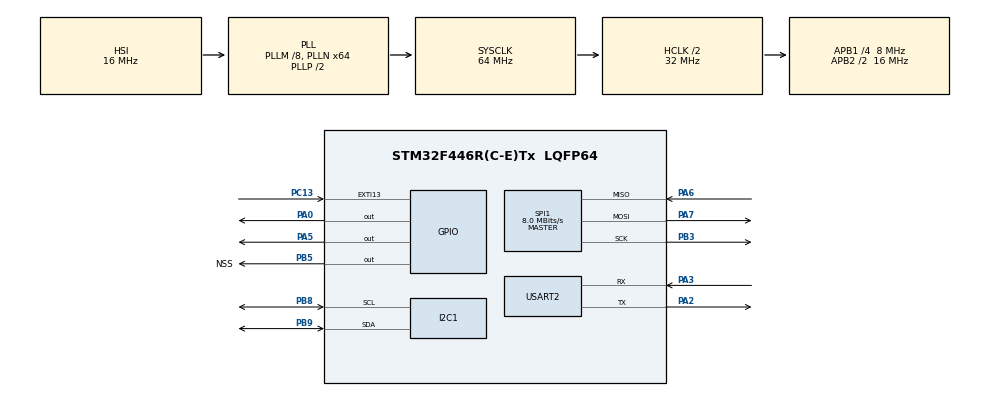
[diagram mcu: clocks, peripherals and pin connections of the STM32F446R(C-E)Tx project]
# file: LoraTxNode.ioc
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Mcu.Family=STM32F4
Mcu.Name=STM32F446R(C-E)Tx
Mcu.Package=LQFP64
NVIC.EXTI15_10_IRQn=true\:0\:0\:false\:false\:true\:true
NVIC.PriorityGroup=NVIC_PRIORITYGROUP_4
PA0-WKUP.PinState=GPIO_PIN_RESET
PA0-WKUP.Signal=GPIO_Output
PA2.Mode=Asynchronous
PA2.Signal=USART2_TX
PA3.Mode=Asynchronous
PA3.Signal=USART2_RX
PA5.GPIO_Speed=GPIO_SPEED_FREQ_MEDIUM
PA5.Signal=GPIO_Output
PA6.Mode=Full_Duplex_Master
PA6.Signal=SPI1_MISO
PA7.Mode=Full_Duplex_Master
PA7.Signal=SPI1_MOSI
PB3.Mode=Full_Duplex_Master
PB3.Signal=SPI1_SCK
PB5.GPIO_Label=NSS
PB5.GPIO_Speed=GPIO_SPEED_FREQ_VERY_HIGH
PB5.Signal=GPIO_Output
PB8.Mode=I2C
PB8.Signal=I2C1_SCL
PB9.Mode=I2C
PB9.Signal=I2C1_SDA
PC13.GPIO_ModeDefaultEXTI=GPIO_MODE_IT_FALLING
PC13.Signal=GPXTI13
PH0-OSC_IN.Mode=HSE-External-Oscillator
PH0-OSC_IN.Signal=RCC_OSC_IN
PH1-OSC_OUT.Mode=HSE-External-Oscillator
PH1-OSC_OUT.Signal=RCC_OSC_OUT
ProjectManager.HeapSize=0x200
ProjectManager.StackSize=0x400
ProjectManager.TargetToolchain=SW4STM32
RCC.AHBCLKDivider=RCC_SYSCLK_DIV2
RCC.AHBFreq_Value=32000000
RCC.APB1CLKDivider=RCC_HCLK_DIV4
RCC.APB1Freq_Value=8000000
RCC.APB1TimFreq_Value=16000000
RCC.APB2CLKDivider=RCC_HCLK_DIV2
RCC.APB2Freq_Value=16000000
RCC.APB2TimFreq_Value=32000000
RCC.CortexFreq_Value=32000000
RCC.HCLKFreq_Value=32000000
RCC.HSE_VALUE=8000000
RCC.PLLM=8
RCC.PLLN=64
RCC.SYSCLKFreq_VALUE=64000000
RCC.SYSCLKSource=RCC_SYSCLKSOURCE_PLLCLK
RCC.USBFreq_Value=64000000
RCC.VCOOutputFreq_Value=128000000
SPI1.BaudRatePrescaler=SPI_BAUDRATEPRESCALER_2
SPI1.CalculateBaudRate=8.0 MBits/s
SPI1.Direction=SPI_DIRECTION_2LINES
SPI1.Mode=SPI_MODE_MASTER
SPI1.VirtualType=VM_MASTER
USART2.VirtualMode=VM_ASYNC
board=custom

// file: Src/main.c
/**
  ******************************************************************************
  * @file           : main.c
  * @brief          : Main program body
  ******************************************************************************
  ** This notice applies to any and all portions of this file
  * that are not between comment pairs USER CODE BEGIN and
  * USER CODE END. Other portions of this file, whether
  * inserted by the user or by software development tools
  * are owned by their respective copyright owners.
  *
  * COPYRIGHT(c) 2019 STMicroelectronics
  *
  * Redistribution and use in source and binary forms, with or without modification,
  * are permitted provided that the following conditions are met:
  *   1. Redistributions of source code must retain the above copyright notice,
  *      this list of conditions and the following disclaimer.
  *   2. Redistributions in binary form must reproduce the above copyright notice,
  *      this list of conditions and the following disclaimer in the documentation
  *      and/or other materials provided with the distribution.
  *   3. Neither the name of STMicroelectronics nor the names of its contributors
  *      may be used to endorse or promote products derived from this software
  *      without specific prior written permission.
  *
  * THIS SOFTWARE IS PROVIDED BY THE COPYRIGHT HOLDERS AND CONTRIBUTORS "AS IS"
  * AND ANY EXPRESS OR IMPLIED WARRANTIES, INCLUDING, BUT NOT LIMITED TO, THE
  * IMPLIED WARRANTIES OF MERCHANTABILITY AND FITNESS FOR A PARTICULAR PURPOSE ARE
  * DISCLAIMED. IN NO EVENT SHALL THE COPYRIGHT HOLDER OR CONTRIBUTORS BE LIABLE
  * FOR ANY DIRECT, INDIRECT, INCIDENTAL, SPECIAL, EXEMPLARY, OR CONSEQUENTIAL
  * DAMAGES (INCLUDING, BUT NOT LIMITED TO, PROCUREMENT OF SUBSTITUTE GOODS OR
  * SERVICES; LOSS OF USE, DATA, OR PROFITS; OR BUSINESS INTERRUPTION) HOWEVER
  * CAUSED AND ON ANY THEORY OF LIABILITY, WHETHER IN CONTRACT, STRICT LIABILITY,
  * OR TORT (INCLUDING NEGLIGENCE OR OTHERWISE) ARISING IN ANY WAY OUT OF THE USE
  * OF THIS SOFTWARE, EVEN IF ADVISED OF THE POSSIBILITY OF SUCH DAMAGE.
  *
  ******************************************************************************
  */
#include "main.h"
#include "stm32f4xx_hal.h"

/* USER CODE BEGIN Includes */
#include "sx1272.h"

/* USER CODE END Includes */

I2C_HandleTypeDef hi2c1;

SPI_HandleTypeDef hspi1;

UART_HandleTypeDef huart2;

/* USER CODE BEGIN PV */
/* Private variables ---------------------------------------------------------*/

SX1272 node;
Config_Group config;
uint32_t freq = 0, g32 = 0x41466666;
uint16_t modem = 0, crc = 0;
uint8_t op = 0, ocp = 0, flags = 0;
uint8_t cmd1 = REG_LR_OP_MODE | READ;
uint8_t t1 = 0, t2 = 0;
uint8_t ts[2], data[PAYLOAD_LENGTH];
float temp = 0.0, temp1 = 0.0, temp2 = 0.0;
float test = 0.0;

/* USER CODE END PV */

void SystemClock_Config(void);
static void MX_GPIO_Init(void);
static void MX_SPI1_Init(void);
static void MX_I2C1_Init(void);
static void MX_USART2_UART_Init(void);

/* USER CODE BEGIN PFP */
/* Private function prototypes -----------------------------------------------*/
void log_temp();
void HAL_GPIO_EXTI_Callback(uint16_t GPIO_Pin);
/* USER CODE END PFP */

int main(void)
{

  /* MCU Configuration----------------------------------------------------------*/

  /* Reset of all peripherals, Initializes the Flash interface and the Systick. */
  HAL_Init();

  /* Configure the system clock */
  SystemClock_Config();

  /* Initialize all configured peripherals */
  MX_GPIO_Init();
  MX_SPI1_Init();
  MX_I2C1_Init();
  MX_USART2_UART_Init();
  /* USER CODE BEGIN 2 */

  node.hspi = &hspi1;
  node.config = &config;

  sx1272_lora_init(&node);

  /* Dummy data */
  data[0] = 0x55;
  data[1] = 0x17;
  data[2] = 0x22;
  data[3] = 0x10;
  data[4] = 0x34;
  data[5] = 0x89;
  data[6] = 0xA3;
  data[7] = 0x5F;
  for (int i = 8; i < 32; i++) {
      data[i] = 0;
  }

  crc = radio_packet_crc_compute(data, 32, CRC_TYPE_IBM);
  /* USER CODE END 2 */

  /* Infinite loop */
  /* USER CODE BEGIN WHILE */
  while (1)
  {
      log_temp();
	  flags = sx1272_send(0x5, data, PAYLOAD_LENGTH + HEADER_LENGTH, 1, 100);
	  HAL_Delay(2000);
  /* USER CODE END WHILE */

  }

}

void SystemClock_Config(void)
{

  RCC_OscInitTypeDef RCC_OscInitStruct;
  RCC_ClkInitTypeDef RCC_ClkInitStruct;

    /**Configure the main internal regulator output voltage
    */
  __HAL_RCC_PWR_CLK_ENABLE();

  __HAL_PWR_VOLTAGESCALING_CONFIG(PWR_REGULATOR_VOLTAGE_SCALE3);

    /**Initializes the CPU, AHB and APB busses clocks
    */
  RCC_OscInitStruct.OscillatorType = RCC_OSCILLATORTYPE_HSI;
  RCC_OscInitStruct.HSIState = RCC_HSI_ON;
  RCC_OscInitStruct.HSICalibrationValue = 16;
  RCC_OscInitStruct.PLL.PLLState = RCC_PLL_ON;
  RCC_OscInitStruct.PLL.PLLSource = RCC_PLLSOURCE_HSI;
  RCC_OscInitStruct.PLL.PLLM = 8;
  RCC_OscInitStruct.PLL.PLLN = 64;
  RCC_OscInitStruct.PLL.PLLP = RCC_PLLP_DIV2;
  RCC_OscInitStruct.PLL.PLLQ = 2;
  RCC_OscInitStruct.PLL.PLLR = 2;
  if (HAL_RCC_OscConfig(&RCC_OscInitStruct) != HAL_OK)
  {
    _Error_Handler(__FILE__, __LINE__);
  }

    /**Initializes the CPU, AHB and APB busses clocks
    */
  RCC_ClkInitStruct.ClockType = RCC_CLOCKTYPE_HCLK|RCC_CLOCKTYPE_SYSCLK
                              |RCC_CLOCKTYPE_PCLK1|RCC_CLOCKTYPE_PCLK2;
  RCC_ClkInitStruct.SYSCLKSource = RCC_SYSCLKSOURCE_PLLCLK;
  RCC_ClkInitStruct.AHBCLKDivider = RCC_SYSCLK_DIV2;
  RCC_ClkInitStruct.APB1CLKDivider = RCC_HCLK_DIV4;
  RCC_ClkInitStruct.APB2CLKDivider = RCC_HCLK_DIV2;

  if (HAL_RCC_ClockConfig(&RCC_ClkInitStruct, FLASH_LATENCY_1) != HAL_OK)
  {
    _Error_Handler(__FILE__, __LINE__);
  }

    /**Configure the Systick interrupt time
    */
  HAL_SYSTICK_Config(HAL_RCC_GetHCLKFreq()/1000);

    /**Configure the Systick
    */
  HAL_SYSTICK_CLKSourceConfig(SYSTICK_CLKSOURCE_HCLK);

  /* SysTick_IRQn interrupt configuration */
  HAL_NVIC_SetPriority(SysTick_IRQn, 0, 0);
}

/* I2C1 init function */
static void MX_I2C1_Init(void)
{

  hi2c1.Instance = I2C1;
  hi2c1.Init.ClockSpeed = 100000;
  hi2c1.Init.DutyCycle = I2C_DUTYCYCLE_2;
  hi2c1.Init.OwnAddress1 = 0;
  hi2c1.Init.AddressingMode = I2C_ADDRESSINGMODE_7BIT;
  hi2c1.Init.DualAddressMode = I2C_DUALADDRESS_DISABLE;
  hi2c1.Init.OwnAddress2 = 0;
  hi2c1.Init.GeneralCallMode = I2C_GENERALCALL_DISABLE;
  hi2c1.Init.NoStretchMode = I2C_NOSTRETCH_DISABLE;
  if (HAL_I2C_Init(&hi2c1) != HAL_OK)
  {
    _Error_Handler(__FILE__, __LINE__);
  }

}

/* SPI1 init function */
static void MX_SPI1_Init(void)
{

  /* SPI1 parameter configuration*/
  hspi1.Instance = SPI1;
  hspi1.Init.Mode = SPI_MODE_MASTER;
  hspi1.Init.Direction = SPI_DIRECTION_2LINES;
  hspi1.Init.DataSize = SPI_DATASIZE_8BIT;
  hspi1.Init.CLKPolarity = SPI_POLARITY_LOW;
  hspi1.Init.CLKPhase = SPI_PHASE_1EDGE;
  hspi1.Init.NSS = SPI_NSS_SOFT;
  hspi1.Init.BaudRatePrescaler = SPI_BAUDRATEPRESCALER_2;
  hspi1.Init.FirstBit = SPI_FIRSTBIT_MSB;
  hspi1.Init.TIMode = SPI_TIMODE_DISABLE;
  hspi1.Init.CRCCalculation = SPI_CRCCALCULATION_DISABLE;
  hspi1.Init.CRCPolynomial = 10;
  if (HAL_SPI_Init(&hspi1) != HAL_OK)
  {
    _Error_Handler(__FILE__, __LINE__);
  }

}

/* USART2 init function */
static void MX_USART2_UART_Init(void)
{

  huart2.Instance = USART2;
  huart2.Init.BaudRate = 115200;
  huart2.Init.WordLength = UART_WORDLENGTH_8B;
  huart2.Init.StopBits = UART_STOPBITS_1;
  huart2.Init.Parity = UART_PARITY_NONE;
  huart2.Init.Mode = UART_MODE_TX_RX;
  huart2.Init.HwFlowCtl = UART_HWCONTROL_NONE;
  huart2.Init.OverSampling = UART_OVERSAMPLING_16;
  if (HAL_UART_Init(&huart2) != HAL_OK)
  {
    _Error_Handler(__FILE__, __LINE__);
  }

}

/** Configure pins as
        * Analog
        * Input
        * Output
        * EVENT_OUT
        * EXTI
*/
static void MX_GPIO_Init(void)
{

  GPIO_InitTypeDef GPIO_InitStruct;

  /* GPIO Ports Clock Enable */
  __HAL_RCC_GPIOC_CLK_ENABLE();
  __HAL_RCC_GPIOH_CLK_ENABLE();
  __HAL_RCC_GPIOA_CLK_ENABLE();
  __HAL_RCC_GPIOB_CLK_ENABLE();

  /*Configure GPIO pin Output Level */
  HAL_GPIO_WritePin(GPIOA, GPIO_PIN_0|GPIO_PIN_5, GPIO_PIN_RESET);

  /*Configure GPIO pin Output Level */
  HAL_GPIO_WritePin(NSS_GPIO_Port, NSS_Pin, GPIO_PIN_RESET);

  /*Configure GPIO pin : PC13 */
  GPIO_InitStruct.Pin = GPIO_PIN_13;
  GPIO_InitStruct.Mode = GPIO_MODE_IT_FALLING;
  GPIO_InitStruct.Pull = GPIO_NOPULL;
  HAL_GPIO_Init(GPIOC, &GPIO_InitStruct);

  /*Configure GPIO pin : PA0 */
  GPIO_InitStruct.Pin = GPIO_PIN_0;
  GPIO_InitStruct.Mode = GPIO_MODE_OUTPUT_PP;
  GPIO_InitStruct.Pull = GPIO_NOPULL;
  GPIO_InitStruct.Speed = GPIO_SPEED_FREQ_LOW;
  HAL_GPIO_Init(GPIOA, &GPIO_InitStruct);

  /*Configure GPIO pin : PA5 */
  GPIO_InitStruct.Pin = GPIO_PIN_5;
  GPIO_InitStruct.Mode = GPIO_MODE_OUTPUT_PP;
  GPIO_InitStruct.Pull = GPIO_NOPULL;
  GPIO_InitStruct.Speed = GPIO_SPEED_FREQ_MEDIUM;
  HAL_GPIO_Init(GPIOA, &GPIO_InitStruct);

  /*Configure GPIO pin : NSS_Pin */
  GPIO_InitStruct.Pin = NSS_Pin;
  GPIO_InitStruct.Mode = GPIO_MODE_OUTPUT_PP;
  GPIO_InitStruct.Pull = GPIO_NOPULL;
  GPIO_InitStruct.Speed = GPIO_SPEED_FREQ_VERY_HIGH;
  HAL_GPIO_Init(NSS_GPIO_Port, &GPIO_InitStruct);

  /* EXTI interrupt init*/
  HAL_NVIC_SetPriority(EXTI15_10_IRQn, 0, 0);
  HAL_NVIC_EnableIRQ(EXTI15_10_IRQn);

}

/* USER CODE BEGIN 4 */
void HAL_GPIO_EXTI_Callback(uint16_t GPIO_Pin) {
	if (GPIO_Pin == GPIO_PIN_13) {
		HAL_GPIO_TogglePin(GPIOA, GPIO_PIN_5);
	} else {
		;
	}
}

void log_temp() {
	HAL_I2C_Mem_Read(&hi2c1, 0x52 << 1, 0x7, 1, ts, 2, 100);
	data[8] = ts[0];
	data[9] = ts[1];

	HAL_UART_Transmit(&huart2, ts, 2, 100);

	HAL_I2C_Mem_Read(&hi2c1, 0x51 << 1, 0x7, 1, ts, 2, 100);
	data[10] = ts[0];
	data[11] = ts[1];

	HAL_I2C_Mem_Read(&hi2c1, 0x53 << 1, 0x7, 1, ts, 2, 100);
	data[12] = ts[0];
	data[13] = ts[1];
}
/* USER CODE END 4 */

void _Error_Handler(char *file, int line)
{
  while(1)
  {
  }
}

/************************ (C) COPYRIGHT STMicroelectronics *****END OF FILE****/
